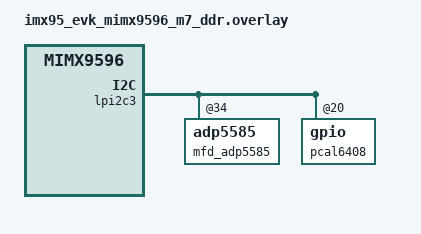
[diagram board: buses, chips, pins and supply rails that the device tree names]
/*
 * Copyright 2026 NXP
 * SPDX-License-Identifier: Apache-2.0
 */

#include <zephyr/dt-bindings/video/video-interfaces.h>

/ {
	chosen {
		/* Use AP1302 as capture device for this sample */
		zephyr,camera = &ap1302;
	};
};

/* Enable LPI2C3 and its IO expanders for camera use */
&lpi2c3 {
	status = "okay";

	mfd_adp5585: adp5585@34 {
		status = "okay";

		adp5585_gpio: adp5585_gpio {
			status = "okay";
		};
	};

	pcal6408: gpio@20 {
		status = "okay";
	};
};

&reg_cam_dvdd {
	status = "okay";
};

&reg_cam_vddio {
	status = "okay";
};

&reg_cam_avdd {
	status = "okay";
};

&reg_cam_vddio_hmisc {
	status = "okay";
};

/* Board-specific wiring: clock, pinctrl, power supplies for AP1302 */
&ap1302 {
	power-supplies = <&reg_cam_dvdd>,
			 <&reg_cam_vddio>,
			 <&reg_cam_avdd>,
			 <&reg_cam_vddio_hmisc>;
	clock-names = "mclk";
	clocks = <&scmi_clk IMX95_CLK_CCMCKO1>;
	pinctrl-0 = <&cmmclk1_default>;
	pinctrl-names = "default";
};
